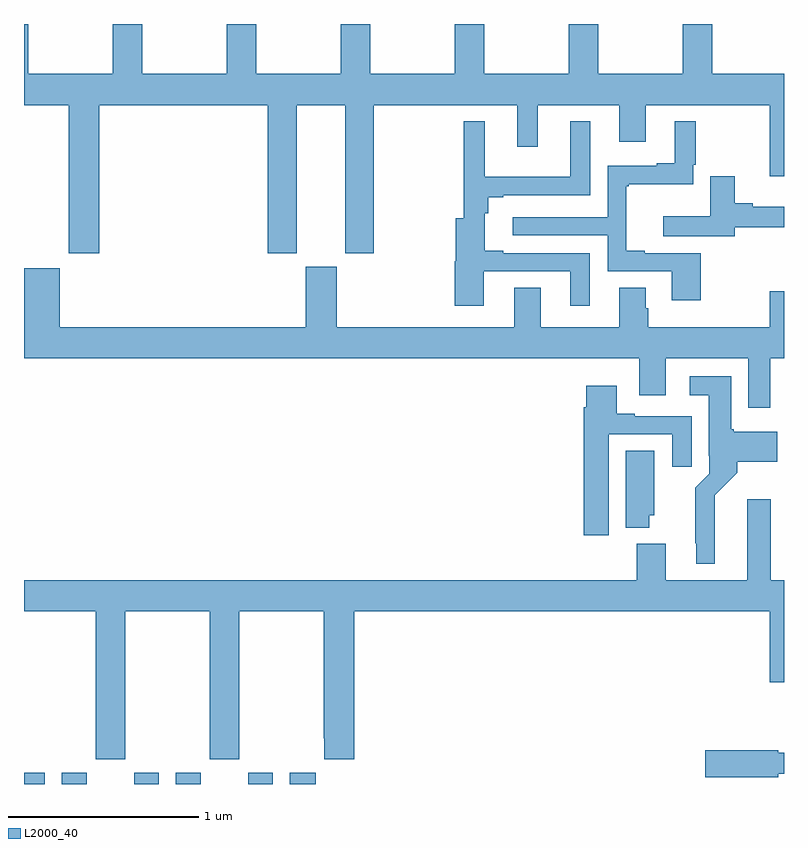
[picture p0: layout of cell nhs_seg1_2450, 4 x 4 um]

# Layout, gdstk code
import gdstk
lib = gdstk.Library(unit=1e-6, precision=1e-09)
def R(c, l, rs):  # rectangles x0, y0, x1, y1
    for r in rs: c.add(gdstk.rectangle(r[:2], r[2:], *l))
def P(c, l, *ps):  # polygons
    for p in ps: c.add(gdstk.Polygon(p, *l))
L2000_40 = (2000, 40)

nhs_seg1_2450 = lib.new_cell('nhs_seg1_2450')
R(nhs_seg1_2450, L2000_40, [(245,508.199,245.11,508.258), (245.198,508.199,245.329,508.258), (245.579,508.199,245.71,508.258), (245.798,508.199,245.929,508.258), (246.179,508.199,246.31,508.258), (246.398,508.199,246.535,508.258)])
P(nhs_seg1_2450, L2000_40, [(247.595,511.554),(247.705,511.554),(247.705,511.772),(248.132,511.772),(248.132,511.578),(248.272,511.578),(248.272,511.772),(248.924,511.772),(248.924,511.398),(249,511.398),(249,511.936),(248.622,511.936),(248.622,512.199),(248.467,512.199),(248.467,511.936),(248.022,511.936),(248.022,512.199),(247.867,512.199),(247.867,511.936),(247.422,511.936),(247.422,512.199),(247.267,512.199),(247.267,511.936),(246.822,511.936),(246.822,512.199),(246.667,512.199),(246.667,511.936),(246.222,511.936),(246.222,512.199),(246.067,512.199),(246.067,511.936),(245.622,511.936),(245.622,512.199),(245.467,512.199),(245.467,511.936),(245.022,511.936),(245.022,512.199),(245,512.199),(245,511.772),(245.236,511.772),(245.236,510.993),(245.396,510.993),(245.396,511.772),(246.284,511.772),(246.284,510.993),(246.436,510.993),(246.436,511.772),(246.692,511.772),(246.692,510.993),(246.84,510.993),(246.84,511.772),(247.595,511.772)],
  [(247.42,510.897),(247.874,510.897),(247.874,510.717),(247.978,510.717),(247.978,510.993),(247.522,510.993),(247.522,511.006),(247.426,511.006),(247.426,511.202),(247.444,511.202),(247.444,511.287),(247.522,511.287),(247.522,511.299),(247.981,511.299),(247.981,511.687),(247.874,511.687),(247.874,511.396),(247.426,511.396),(247.426,511.687),(247.315,511.687),(247.315,511.177),(247.273,511.177),(247.273,510.951),(247.268,510.951),(247.268,510.717),(247.42,510.717)],
  [(248.561,510.993),(248.266,510.993),(248.266,511.006),(248.171,511.006),(248.171,511.344),(248.182,511.344),(248.182,511.355),(248.523,511.355),(248.523,511.459),(248.536,511.459),(248.536,511.687),(248.426,511.687),(248.426,511.465),(248.33,511.465),(248.33,511.452),(248.073,511.452),(248.073,511.182),(247.572,511.182),(247.572,511.086),(248.073,511.086),(248.073,510.897),(248.408,510.897),(248.408,510.744),(248.561,510.744)],
  [(248.74,511.128),(249,511.128),(249,511.237),(248.836,511.237),(248.836,511.256),(248.74,511.256),(248.74,511.399),(248.612,511.399),(248.612,511.186),(248.364,511.186),(248.364,511.082),(248.74,511.082)],
  [(248.927,510.44),(249,510.44),(249,510.793),(248.924,510.793),(248.924,510.604),(248.285,510.604),(248.285,510.702),(248.272,510.702),(248.272,510.812),(248.132,510.812),(248.132,510.604),(247.72,510.604),(247.72,510.812),(247.58,510.812),(247.58,510.604),(246.646,510.604),(246.646,510.921),(246.482,510.921),(246.482,510.604),(245.188,510.604),(245.188,510.913),(245,510.913),(245,510.44),(248.237,510.44),(248.237,510.246),(248.377,510.246),(248.377,510.44),(248.811,510.44),(248.811,510.18),(248.927,510.18)],
  [(248.635,509.72),(248.753,509.838),(248.753,509.894),(248.965,509.894),(248.965,510.052),(248.736,510.052),(248.736,510.066),(248.722,510.066),(248.722,510.346),(248.505,510.346),(248.505,510.245),(248.603,510.245),(248.603,509.926),(248.607,509.926),(248.607,509.832),(248.533,509.758),(248.533,509.467),(248.537,509.467),(248.537,509.357),(248.635,509.357)],
  [(248.077,510.039),(248.411,510.039),(248.411,509.868),(248.515,509.868),(248.515,510.135),(248.215,510.135),(248.215,510.148),(248.119,510.148),(248.119,510.295),(247.958,510.295),(247.958,510.182),(247.946,510.182),(247.946,509.508),(248.077,509.508)],
  [(248.29,509.613),(248.317,509.613),(248.317,509.954),(248.168,509.954),(248.168,509.549),(248.29,509.549)],
  [(245.532,509.108),(245.977,509.108),(245.977,508.329),(246.132,508.329),(246.132,509.108),(246.577,509.108),(246.577,508.441),(246.581,508.441),(246.581,508.329),(246.737,508.329),(246.737,509.108),(248.924,509.108),(248.924,508.734),(249,508.734),(249,509.272),(248.93,509.272),(248.93,509.698),(248.807,509.698),(248.807,509.272),(248.377,509.272),(248.377,509.464),(248.225,509.464),(248.225,509.272),(245,509.272),(245,509.108),(245.377,509.108),(245.377,508.329),(245.532,508.329)],
  [(248.97,508.254),(249,508.254),(249,508.363),(248.97,508.363),(248.97,508.376),(248.586,508.376),(248.586,508.234),(248.97,508.234)])

lib.write_gds('nhs_seg1_2450.gds')
